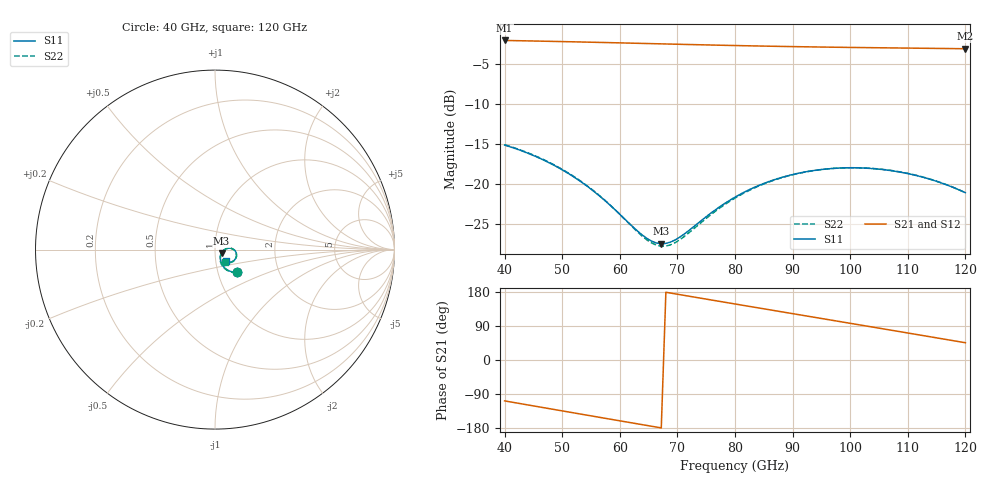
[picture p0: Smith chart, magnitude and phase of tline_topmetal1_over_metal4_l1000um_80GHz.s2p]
#  GHZ S DB R 50
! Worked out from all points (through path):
!   101 points, 40 GHz to 120 GHz, reference 50 ohm
!   highest |S21| = -2.07 dB at 40 GHz (marker M1); lowest = -3.1 dB at 120 GHz (marker M2)
!   group delay of S21, straight-line fit = 7.15 ps
!   lowest |S11| = -27.5 dB at 67.2 GHz (marker M3), VSWR 1.09, Z = 53.8 - j2.16 ohm
!   |S11| at or under -10 dB: start of sweep to end of sweep
!   |S22| runs from -27.8 to -15.1 dB; largest |S21 - S12| = 8.8e-14
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40  -15.17 -46.1  -2.07 -107.9  -2.07 -107.9  -15.13 -46.7
43.2  -15.96 -51.4  -2.11 -116.4  -2.11 -116.4  -15.91 -52.1
46.4  -16.92 -56.2  -2.15 -124.8  -2.15 -124.8  -16.87 -57.1
50.4  -18.44 -61.3  -2.21 -135.3  -2.21 -135.3  -18.38 -62.4
53.6  -19.94 -63.9  -2.26 -143.7  -2.26 -143.7  -19.89 -65.4
59.2  -23.29 -62.6  -2.36 -158.4  -2.36 -158.4  -23.28 -64.7
64  -26.50 -48.0  -2.44 -170.9  -2.44 -170.9  -26.65 -50.6
65.6  -27.23 -38.9  -2.47 -175.1  -2.47 -175.1  -27.46 -41.4
67.2  -27.53 -28.5  -2.49 -179.2  -2.49 -179.2  -27.84 -30.6
68.8  -27.32 -18.2  -2.52 176.7  -2.52 176.7  -27.66 -19.7
70.4  -26.71 -9.5  -2.55 172.5  -2.55 172.5  -27.04 -10.4
75.2  -24.03 4.2  -2.63 160.2  -2.63 160.2  -24.24 4.0
80  -21.70 5.8  -2.70 147.9  -2.70 147.9  -21.81 5.5
86.4  -19.61 0.3  -2.79 131.5  -2.79 131.5  -19.66 -0.2
90.4  -18.80 -5.0  -2.84 121.3  -2.84 121.3  -18.82 -5.7
93.6  -18.37 -9.8  -2.88 113.2  -2.88 113.2  -18.38 -10.6
97.6  -18.07 -16.1  -2.92 103.0  -2.92 103.0  -18.07 -17.1
100.8  -18.02 -21.2  -2.95 94.8  -2.95 94.8  -18.01 -22.5
104  -18.12 -26.4  -2.97 86.6  -2.97 86.6  -18.11 -27.8
107.2  -18.39 -31.4  -3.00 78.4  -3.00 78.4  -18.36 -33.1
113.6  -19.40 -40.7  -3.05 62.0  -3.05 62.0  -19.37 -43.0
120  -21.14 -47.6  -3.10 45.6  -3.10 45.6  -21.14 -50.8
